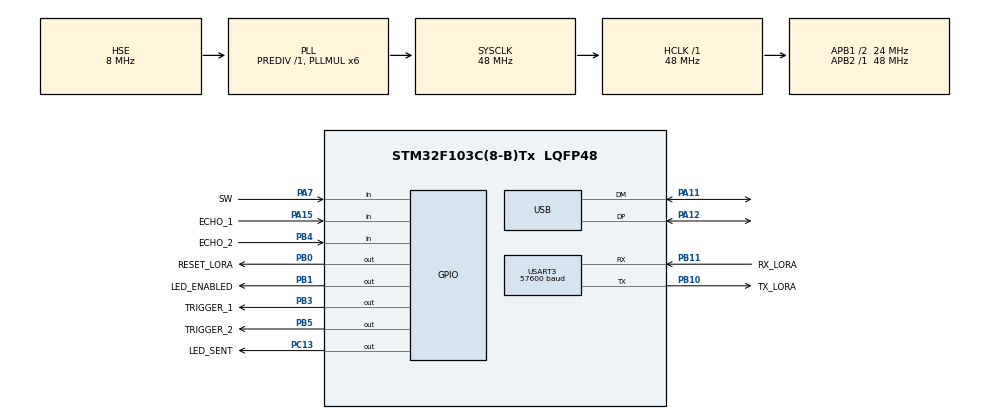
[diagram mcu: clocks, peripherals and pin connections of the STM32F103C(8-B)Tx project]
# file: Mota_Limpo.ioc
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Mcu.Family=STM32F1
Mcu.Name=STM32F103C(8-B)Tx
Mcu.Package=LQFP48
NVIC.PriorityGroup=NVIC_PRIORITYGROUP_4
NVIC.RCC_IRQn=true\:0\:0\:false\:false\:true\:true\:false
NVIC.USART3_IRQn=true\:0\:0\:false\:false\:true\:true\:true
NVIC.USB_LP_CAN1_RX0_IRQn=true\:0\:0\:false\:true\:true\:1\:false\:true
PA11.Mode=Device
PA11.Signal=USB_DM
PA12.Mode=Device
PA12.Signal=USB_DP
PA15.GPIO_Label=ECHO_1
PA15.Signal=GPIO_Input
PA7.GPIO_Label=SW
PA7.Signal=GPIO_Input
PB0.GPIO_Label=RESET_LORA
PB0.Signal=GPIO_Output
PB1.GPIO_Label=LED_ENABLED
PB1.Signal=GPIO_Output
PB10.GPIO_Label=TX_LORA
PB10.Mode=Asynchronous
PB10.Signal=USART3_TX
PB11.GPIO_Label=RX_LORA
PB11.Mode=Asynchronous
PB11.Signal=USART3_RX
PB3.GPIO_Label=TRIGGER_1
PB3.Signal=GPIO_Output
PB4.GPIO_Label=ECHO_2
PB4.Signal=GPIO_Input
PB5.GPIO_Label=TRIGGER_2
PB5.Signal=GPIO_Output
PC13-TAMPER-RTC.GPIO_Label=LED_SENT
PC13-TAMPER-RTC.PinState=GPIO_PIN_SET
PC13-TAMPER-RTC.Signal=GPIO_Output
PD0-OSC_IN.Mode=HSE-External-Oscillator
PD0-OSC_IN.Signal=RCC_OSC_IN
PD1-OSC_OUT.Mode=HSE-External-Oscillator
PD1-OSC_OUT.Signal=RCC_OSC_OUT
ProjectManager.HeapSize=0x200
ProjectManager.StackSize=0x400
ProjectManager.TargetToolchain=STM32CubeIDE
RCC.AHBFreq_Value=48000000
RCC.APB1CLKDivider=RCC_HCLK_DIV2
RCC.APB1Freq_Value=24000000
RCC.APB1TimFreq_Value=48000000
RCC.APB2Freq_Value=48000000
RCC.APB2TimFreq_Value=48000000
RCC.HCLKFreq_Value=48000000
RCC.PLLMUL=RCC_PLL_MUL6
RCC.SYSCLKFreq_VALUE=48000000
RCC.SYSCLKSource=RCC_SYSCLKSOURCE_PLLCLK
RCC.USBFreq_Value=48000000
USART3.BaudRate=57600
USART3.VirtualMode=VM_ASYNC
USB_DEVICE.CLASS_NAME_FS=CDC
USB_DEVICE.VirtualMode=Cdc
USB_DEVICE.VirtualModeFS=Cdc_FS
VP_SYS_VS_ND.Mode=No_Debug
VP_USB_DEVICE_VS_USB_DEVICE_CDC_FS.Mode=CDC_FS
board=custom

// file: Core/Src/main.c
/* USER CODE BEGIN Header */
/**
  ******************************************************************************
  * @file           : main.c
  * @brief          : Main program body
  ******************************************************************************
  * @attention
  *
  * <h2><center>&copy; Copyright (c) 2020 STMicroelectronics.
  * All rights reserved.</center></h2>
  *
  * This software component is licensed by ST under BSD 3-Clause license,
  * the "License"; You may not use this file except in compliance with the
  * License. You may obtain a copy of the License at:
  *                        opensource.org/licenses/BSD-3-Clause
  *
  ******************************************************************************
  */
/* USER CODE END Header */

#include "main.h"
#include "usb_device.h"

/* USER CODE BEGIN Includes */
#include <stdio.h>
#include "stdint.h"
/* USER CODE END Includes */

/* USER CODE BEGIN PM */
#define SIZE_RX 0x10
/* USER CODE END PM */

UART_HandleTypeDef huart3;

/* USER CODE BEGIN PV */

char CDC_tx_buff[60];//El buffer para enviar los datos por usb
uint8_t CDC_tx_size;//tamaño de buffer
char CDC_rx_flag;//Variable que se modifica en el archivo  usbd_cdc_if.c
extern uint8_t CDC_Transmit_FS(uint8_t* Buf, uint16_t Len);//Función que se usa para enviar por usbd_cdc_if.c
char rxBufferLora[20];
char txBufferLora[60];
uint8_t sizeBufferLora;
/* USER CODE END PV */

void SystemClock_Config(void);
static void MX_GPIO_Init(void);
static void MX_USART3_UART_Init(void);
static void MX_NVIC_Init(void);

/* USER CODE BEGIN 0 */

void RX_Lora()
{
	HAL_Delay(1000);
	HAL_UART_Receive(&huart3, (uint8_t *)&rxBufferLora,SIZE_RX, 200);
	CDC_tx_size=sprintf ("%s Listo",rxBufferLora);
	CDC_Transmit_FS((uint8_t *)&CDC_tx_buff,CDC_tx_size);
}
void Config_Lora ()
{
	HAL_Delay(1000);
	sizeBufferLora=sprintf(txBufferLora,"sys get reset\r\n\r\n");
	HAL_UART_Transmit(&huart3, (uint8_t *)&txBufferLora, sizeBufferLora, 100);
	CDC_tx_size=sprintf (CDC_tx_buff,"sys get reset:\r\n\r\n");
	CDC_Transmit_FS((uint8_t *)&CDC_tx_buff,CDC_tx_size);
	RX_Lora();
	HAL_Delay(1000);
	sizeBufferLora=sprintf(txBufferLora,"sys get hweui\r\n");
	HAL_UART_Transmit(&huart3, (uint8_t *)&txBufferLora, sizeBufferLora, 100);
	CDC_tx_size=sprintf (CDC_tx_buff,"sys get hweui:\r\n");
	CDC_Transmit_FS((uint8_t *)&CDC_tx_buff,CDC_tx_size);
	RX_Lora();
	HAL_Delay(1000);
	sizeBufferLora=sprintf(txBufferLora,"sys get ver\r\n");
	HAL_UART_Transmit(&huart3, (uint8_t *)&txBufferLora, sizeBufferLora, 100);
	CDC_tx_size=sprintf (CDC_tx_buff,"sys get ver:\r\n");
	CDC_Transmit_FS((uint8_t *)&CDC_tx_buff,CDC_tx_size);
	RX_Lora();
	HAL_Delay(1000);
	sizeBufferLora=sprintf(txBufferLora,"mac get deveui\r\n");
	HAL_UART_Transmit(&huart3, (uint8_t *)&txBufferLora, sizeBufferLora, 100);
	CDC_tx_size=sprintf (CDC_tx_buff,"mac get deveui:\r\n");
	CDC_Transmit_FS((uint8_t *)&CDC_tx_buff,CDC_tx_size);
	RX_Lora();
	HAL_Delay(1000);
	sizeBufferLora=sprintf(txBufferLora,"mac set nwkskey 297DFB4BE07B4908DDA5D1C2B7509C90\r\n");
	HAL_UART_Transmit(&huart3, (uint8_t *)&txBufferLora, sizeBufferLora, 100);
	CDC_tx_size=sprintf (CDC_tx_buff,"mac set nwkskey 297DFB4BE07B4908DDA5D1C2B7509C90:\r\n");
	CDC_Transmit_FS((uint8_t *)&CDC_tx_buff,CDC_tx_size);
	RX_Lora();
	HAL_Delay(1000);
	sizeBufferLora=sprintf(txBufferLora,"mac set appskey 57F95428F49CFC3F271A061D05DAB6C7\r\n");
	HAL_UART_Transmit(&huart3, (uint8_t *)&txBufferLora, sizeBufferLora, 100);
	CDC_tx_size=sprintf (CDC_tx_buff,"mac set appskey 57F95428F49CFC3F271A061D05DAB6C7:\r\n");
	CDC_Transmit_FS((uint8_t *)&CDC_tx_buff,CDC_tx_size);
	RX_Lora();
	HAL_Delay(1000);
	sizeBufferLora=sprintf(txBufferLora,"mac set devaddr 00117EAE\r\n");
	HAL_UART_Transmit(&huart3, (uint8_t *)&txBufferLora, sizeBufferLora, 100);
	CDC_tx_size=sprintf (CDC_tx_buff,"mac set devaddr 00117EAE:\r\n");
	CDC_Transmit_FS((uint8_t *)&CDC_tx_buff,CDC_tx_size);
	RX_Lora();
	HAL_Delay(1000);
	sizeBufferLora=sprintf(txBufferLora,"radio set pwr 20\r\n");
	HAL_UART_Transmit(&huart3, (uint8_t *)&txBufferLora, sizeBufferLora, 100);
	CDC_tx_size=sprintf (CDC_tx_buff,"radio set pwr 20:\r\n");
	CDC_Transmit_FS((uint8_t *)&CDC_tx_buff,CDC_tx_size);
	RX_Lora();
	HAL_Delay(1000);
	sizeBufferLora=sprintf(txBufferLora,"mac save\r\n");
	HAL_UART_Transmit(&huart3, (uint8_t *)&txBufferLora, sizeBufferLora, 100);
	CDC_tx_size=sprintf (CDC_tx_buff,"mac save:\r\n");
	CDC_Transmit_FS((uint8_t *)&CDC_tx_buff,CDC_tx_size);
	RX_Lora();
	HAL_Delay(1000);
	sizeBufferLora=sprintf(txBufferLora,"mac join abp\r\n");
	HAL_UART_Transmit(&huart3, (uint8_t *)&txBufferLora, sizeBufferLora, 100);
	CDC_tx_size=sprintf (CDC_tx_buff,"mac join abp:\r\n");
	CDC_Transmit_FS((uint8_t *)&CDC_tx_buff,CDC_tx_size);
	RX_Lora();
	HAL_Delay(1000);
	sizeBufferLora=sprintf(txBufferLora,"mac set dr 4\r\n");
	HAL_UART_Transmit(&huart3, (uint8_t *)&txBufferLora, sizeBufferLora, 100);
	CDC_tx_size=sprintf (CDC_tx_buff,"mac set dr 4:\r\n");
	CDC_Transmit_FS((uint8_t *)&CDC_tx_buff,CDC_tx_size);
	RX_Lora();
	HAL_Delay(1000);
	CDC_tx_size=sprintf (CDC_tx_buff,"Ya se configuro RN2903.\r\n");
	CDC_Transmit_FS((uint8_t *)&CDC_tx_buff,CDC_tx_size);
}

void Ini_RN(){
	HAL_GPIO_WritePin(RESET_LORA_GPIO_Port, RESET_LORA_Pin, 0);
	HAL_Delay(100);
	HAL_GPIO_WritePin(RESET_LORA_GPIO_Port, RESET_LORA_Pin, 1);
	HAL_Delay(100);
	Config_Lora();
}

/* USER CODE END 0 */

int main(void)
{

	/* MCU Configuration--------------------------------------------------------*/

	/* Reset of all peripherals, Initializes the Flash interface and the Systick. */
	HAL_Init();

	/* Configure the system clock */
	SystemClock_Config();

	/* Initialize all configured peripherals */
	MX_GPIO_Init();
	MX_USB_DEVICE_Init();
	MX_USART3_UART_Init();

	/* Initialize interrupts */
	MX_NVIC_Init();
	/* USER CODE BEGIN 2 */
	CDC_tx_size=sprintf(CDC_tx_buff,"Begin:\r\n");
	CDC_Transmit_FS((uint8_t *)&CDC_tx_buff,CDC_tx_size);

	/* USER CODE END 2 */

	/* Infinite loop */
	/* USER CODE BEGIN WHILE */
	while (1)
	{
		HAL_Delay(100);
		HAL_GPIO_WritePin(LED_SENT_GPIO_Port, LED_SENT_Pin, 1);
		HAL_Delay(100);
		HAL_GPIO_WritePin(LED_SENT_GPIO_Port, LED_SENT_Pin, 0);
		CDC_tx_size=sprintf(CDC_tx_buff,"Begin:\r\n");
		CDC_Transmit_FS((uint8_t *)&CDC_tx_buff,CDC_tx_size);
	/* USER CODE END WHILE */

	}
}

void SystemClock_Config(void)
{
  RCC_OscInitTypeDef RCC_OscInitStruct = {0};
  RCC_ClkInitTypeDef RCC_ClkInitStruct = {0};
  RCC_PeriphCLKInitTypeDef PeriphClkInit = {0};

  /** Initializes the CPU, AHB and APB busses clocks
  */
  RCC_OscInitStruct.OscillatorType = RCC_OSCILLATORTYPE_HSE;
  RCC_OscInitStruct.HSEState = RCC_HSE_ON;
  RCC_OscInitStruct.HSEPredivValue = RCC_HSE_PREDIV_DIV1;
  RCC_OscInitStruct.HSIState = RCC_HSI_ON;
  RCC_OscInitStruct.PLL.PLLState = RCC_PLL_ON;
  RCC_OscInitStruct.PLL.PLLSource = RCC_PLLSOURCE_HSE;
  RCC_OscInitStruct.PLL.PLLMUL = RCC_PLL_MUL6;
  if (HAL_RCC_OscConfig(&RCC_OscInitStruct) != HAL_OK)
  {
    Error_Handler();
  }
  /** Initializes the CPU, AHB and APB busses clocks
  */
  RCC_ClkInitStruct.ClockType = RCC_CLOCKTYPE_HCLK|RCC_CLOCKTYPE_SYSCLK
                              |RCC_CLOCKTYPE_PCLK1|RCC_CLOCKTYPE_PCLK2;
  RCC_ClkInitStruct.SYSCLKSource = RCC_SYSCLKSOURCE_PLLCLK;
  RCC_ClkInitStruct.AHBCLKDivider = RCC_SYSCLK_DIV1;
  RCC_ClkInitStruct.APB1CLKDivider = RCC_HCLK_DIV2;
  RCC_ClkInitStruct.APB2CLKDivider = RCC_HCLK_DIV1;

  if (HAL_RCC_ClockConfig(&RCC_ClkInitStruct, FLASH_LATENCY_1) != HAL_OK)
  {
    Error_Handler();
  }
  PeriphClkInit.PeriphClockSelection = RCC_PERIPHCLK_USB;
  PeriphClkInit.UsbClockSelection = RCC_USBCLKSOURCE_PLL;
  if (HAL_RCCEx_PeriphCLKConfig(&PeriphClkInit) != HAL_OK)
  {
    Error_Handler();
  }
}

/**
  * @brief NVIC Configuration.
  * @retval None
  */
static void MX_NVIC_Init(void)
{
  /* USB_LP_CAN1_RX0_IRQn interrupt configuration */
  HAL_NVIC_SetPriority(USB_LP_CAN1_RX0_IRQn, 0, 0);
  HAL_NVIC_EnableIRQ(USB_LP_CAN1_RX0_IRQn);
}

static void MX_USART3_UART_Init(void)
{

  huart3.Instance = USART3;
  huart3.Init.BaudRate = 57600;
  huart3.Init.WordLength = UART_WORDLENGTH_8B;
  huart3.Init.StopBits = UART_STOPBITS_1;
  huart3.Init.Parity = UART_PARITY_NONE;
  huart3.Init.Mode = UART_MODE_TX_RX;
  huart3.Init.HwFlowCtl = UART_HWCONTROL_NONE;
  huart3.Init.OverSampling = UART_OVERSAMPLING_16;
  if (HAL_UART_Init(&huart3) != HAL_OK)
  {
    Error_Handler();
  }

}

static void MX_GPIO_Init(void)
{
  GPIO_InitTypeDef GPIO_InitStruct = {0};

  /* GPIO Ports Clock Enable */
  __HAL_RCC_GPIOC_CLK_ENABLE();
  __HAL_RCC_GPIOD_CLK_ENABLE();
  __HAL_RCC_GPIOA_CLK_ENABLE();
  __HAL_RCC_GPIOB_CLK_ENABLE();

  /*Configure GPIO pin Output Level */
  HAL_GPIO_WritePin(LED_SENT_GPIO_Port, LED_SENT_Pin, GPIO_PIN_SET);

  /*Configure GPIO pin Output Level */
  HAL_GPIO_WritePin(GPIOB, RESET_LORA_Pin|LED_ENABLED_Pin|TRIGGER_1_Pin|TRIGGER_2_Pin, GPIO_PIN_RESET);

  /*Configure GPIO pin : LED_SENT_Pin */
  GPIO_InitStruct.Pin = LED_SENT_Pin;
  GPIO_InitStruct.Mode = GPIO_MODE_OUTPUT_PP;
  GPIO_InitStruct.Pull = GPIO_NOPULL;
  GPIO_InitStruct.Speed = GPIO_SPEED_FREQ_LOW;
  HAL_GPIO_Init(LED_SENT_GPIO_Port, &GPIO_InitStruct);

  /*Configure GPIO pins : SW_Pin ECHO_1_Pin */
  GPIO_InitStruct.Pin = SW_Pin|ECHO_1_Pin;
  GPIO_InitStruct.Mode = GPIO_MODE_INPUT;
  GPIO_InitStruct.Pull = GPIO_NOPULL;
  HAL_GPIO_Init(GPIOA, &GPIO_InitStruct);

  /*Configure GPIO pins : RESET_LORA_Pin LED_ENABLED_Pin TRIGGER_1_Pin TRIGGER_2_Pin */
  GPIO_InitStruct.Pin = RESET_LORA_Pin|LED_ENABLED_Pin|TRIGGER_1_Pin|TRIGGER_2_Pin;
  GPIO_InitStruct.Mode = GPIO_MODE_OUTPUT_PP;
  GPIO_InitStruct.Pull = GPIO_NOPULL;
  GPIO_InitStruct.Speed = GPIO_SPEED_FREQ_LOW;
  HAL_GPIO_Init(GPIOB, &GPIO_InitStruct);

  /*Configure GPIO pin : ECHO_2_Pin */
  GPIO_InitStruct.Pin = ECHO_2_Pin;
  GPIO_InitStruct.Mode = GPIO_MODE_INPUT;
  GPIO_InitStruct.Pull = GPIO_NOPULL;
  HAL_GPIO_Init(ECHO_2_GPIO_Port, &GPIO_InitStruct);

}

void Error_Handler(void)
{
  /* USER CODE BEGIN Error_Handler_Debug */
  /* User can add his own implementation to report the HAL error return state */
  	CDC_tx_size=sprintf(CDC_tx_buff,"Error\r\n");
  	CDC_Transmit_FS((uint8_t *)&CDC_tx_buff,CDC_tx_size);
  /* USER CODE END Error_Handler_Debug */
}

/************************ (C) COPYRIGHT STMicroelectronics *****END OF FILE****/
